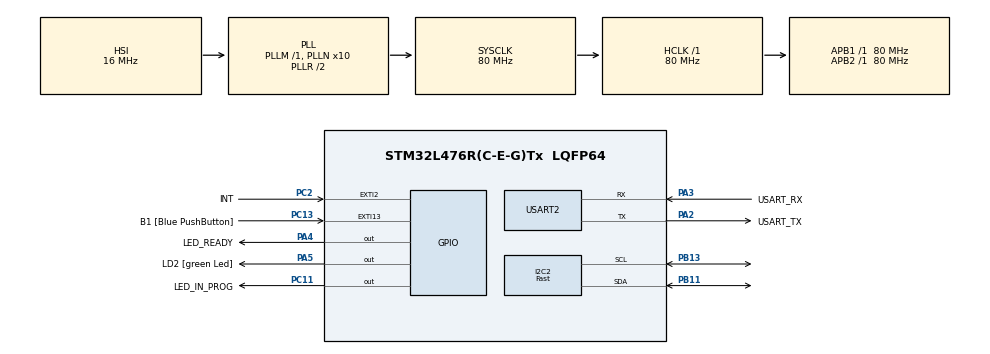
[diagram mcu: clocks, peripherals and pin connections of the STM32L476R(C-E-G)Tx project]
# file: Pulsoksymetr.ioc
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Dma.Request0=USART2_TX
Dma.USART2_TX.0.Direction=DMA_MEMORY_TO_PERIPH
Dma.USART2_TX.0.Instance=DMA1_Channel7
Dma.USART2_TX.0.MemDataAlignment=DMA_MDATAALIGN_BYTE
Dma.USART2_TX.0.MemInc=DMA_MINC_ENABLE
Dma.USART2_TX.0.Mode=DMA_CIRCULAR
Dma.USART2_TX.0.PeriphDataAlignment=DMA_PDATAALIGN_BYTE
Dma.USART2_TX.0.PeriphInc=DMA_PINC_DISABLE
Dma.USART2_TX.0.Priority=DMA_PRIORITY_LOW
I2C2.CustomTiming=Disabled
I2C2.I2C_Speed_Mode=I2C_Fast
I2C2.Speed=400
I2C2.Timing=0x00702991
Mcu.Family=STM32L4
Mcu.Name=STM32L476R(C-E-G)Tx
Mcu.Package=LQFP64
NVIC.DMA1_Channel7_IRQn=true\:0\:0\:false\:false\:true\:false\:true
NVIC.EXTI2_IRQn=true\:0\:0\:false\:false\:true\:true\:true
NVIC.PriorityGroup=NVIC_PRIORITYGROUP_4
PA13\ (JTMS-SWDIO).GPIO_Label=TMS
PA13\ (JTMS-SWDIO).Mode=Serial_Wire
PA13\ (JTMS-SWDIO).Signal=SYS_JTMS-SWDIO
PA14\ (JTCK-SWCLK).GPIO_Label=TCK
PA14\ (JTCK-SWCLK).Mode=Serial_Wire
PA14\ (JTCK-SWCLK).Signal=SYS_JTCK-SWCLK
PA2.GPIO_Label=USART_TX
PA2.GPIO_Mode=GPIO_MODE_AF_PP
PA2.GPIO_PuPd=GPIO_NOPULL
PA2.GPIO_Speed=GPIO_SPEED_FREQ_VERY_HIGH
PA2.Mode=Asynchronous
PA2.Signal=USART2_TX
PA3.GPIO_Label=USART_RX
PA3.GPIO_Mode=GPIO_MODE_AF_PP
PA3.GPIO_PuPd=GPIO_NOPULL
PA3.GPIO_Speed=GPIO_SPEED_FREQ_VERY_HIGH
PA3.Mode=Asynchronous
PA3.Signal=USART2_RX
PA4.GPIO_Label=LED_READY
PA4.Signal=GPIO_Output
PA5.GPIO_Label=LD2 [green Led]
PA5.GPIO_ModeDefaultOutputPP=GPIO_MODE_OUTPUT_PP
PA5.GPIO_PuPd=GPIO_NOPULL
PA5.GPIO_Speed=GPIO_SPEED_FREQ_LOW
PA5.Signal=GPIO_Output
PB11.Mode=I2C
PB11.Signal=I2C2_SDA
PB13.Mode=I2C
PB13.Signal=I2C2_SCL
PB3\ (JTDO-TRACESWO).GPIO_Label=SWO
PB3\ (JTDO-TRACESWO).Signal=SYS_JTDO-SWO
PC11.GPIO_Label=LED_IN_PROG
PC11.Signal=GPIO_Output
PC13.GPIO_Label=B1 [Blue PushButton]
PC13.GPIO_ModeDefaultEXTI=GPIO_MODE_IT_FALLING
PC13.GPIO_PuPd=GPIO_NOPULL
PC13.Signal=GPXTI13
PC14-OSC32_IN\ (PC14).Mode=LSE-External-Oscillator
PC14-OSC32_IN\ (PC14).Signal=RCC_OSC32_IN
PC15-OSC32_OUT\ (PC15).Mode=LSE-External-Oscillator
PC15-OSC32_OUT\ (PC15).Signal=RCC_OSC32_OUT
PC2.GPIO_Label=INT
PC2.GPIO_ModeDefaultEXTI=GPIO_MODE_IT_FALLING
PC2.Signal=GPXTI2
PH0-OSC_IN\ (PH0).Signal=RCC_OSC_IN
PH1-OSC_OUT\ (PH1).Signal=RCC_OSC_OUT
ProjectManager.HeapSize=0x200
ProjectManager.StackSize=0x400
ProjectManager.TargetToolchain=STM32CubeIDE
RCC.ADCFreq_Value=64000000
RCC.AHBFreq_Value=80000000
RCC.APB1Freq_Value=80000000
RCC.APB1TimFreq_Value=80000000
RCC.APB2Freq_Value=80000000
RCC.APB2TimFreq_Value=80000000
RCC.CortexFreq_Value=80000000
RCC.HCLKFreq_Value=80000000
RCC.HSE_VALUE=8000000
RCC.HSI_VALUE=16000000
RCC.MSI_VALUE=4000000
RCC.PLLN=10
RCC.PLLSourceVirtual=RCC_PLLSOURCE_HSI
RCC.PREFETCH_ENABLE=1
RCC.SYSCLKFreq_VALUE=80000000
RCC.SYSCLKSource=RCC_SYSCLKSOURCE_PLLCLK
RCC.USBFreq_Value=64000000
RCC.VCOOutputFreq_Value=160000000
USART2.VirtualMode-Asynchronous=VM_ASYNC
board=NUCLEO-L476RG

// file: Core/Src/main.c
/* USER CODE BEGIN Header */
/**
  ******************************************************************************
  * @file           : main.c
  * @brief          : Main program body
  ******************************************************************************
  * @attention
  *
  * Copyright (c) 2022 STMicroelectronics.
  * All rights reserved.
  *
  * This software is licensed under terms that can be found in the LICENSE file
  * in the root directory of this software component.
  * If no LICENSE file comes with this software, it is provided AS-IS.
  *
  ******************************************************************************
  */
/* USER CODE END Header */
#include "main.h"
#include "dma.h"
#include "i2c.h"
#include "usart.h"
#include "gpio.h"

/* USER CODE BEGIN Includes */

#include "MAX30100.h"
#include <stdio.h>

/* USER CODE END Includes */

/* USER CODE BEGIN PV */

static bool are_samples_ready = false;

/* USER CODE END PV */

void SystemClock_Config(void);

/* USER CODE BEGIN 0 */

void HAL_GPIO_EXTI_Callback(uint16_t GPIO_Pin)
{
    if(GPIO_Pin == INT_Pin)
    {
        are_samples_ready = true;
    }
}

/* USER CODE END 0 */

int main(void)
{
  /* USER CODE BEGIN 1 */

    uint16_t redSample;
    uint16_t irSample;
    char string[1024];
    int stringLen;

  /* USER CODE END 1 */

  /* MCU Configuration--------------------------------------------------------*/

  /* Reset of all peripherals, Initializes the Flash interface and the Systick. */
  HAL_Init();

  /* Configure the system clock */
  SystemClock_Config();

  /* Initialize all configured peripherals */
  MX_GPIO_Init();
  MX_USART2_UART_Init();
  MX_DMA_Init();
  MX_I2C2_Init();
  /* USER CODE BEGIN 2 */

  Max30100_Init(&hi2c2);

  /* USER CODE END 2 */

  /* Infinite loop */
  while (1)
  {

    /* USER CODE BEGIN 3 */

    if (are_samples_ready)
    {
        if (HAL_OK == Max30100_ReadSample(&redSample, &irSample))
        {
            stringLen = sprintf(string, "Red:%d IR:%d\n\r", redSample, irSample);
            if (stringLen > 0)
            {
                HAL_UART_Transmit(&huart2, (uint8_t*)string, stringLen, HAL_MAX_DELAY);
            }

            if (irSample >= MAX30100_LIGHT_THRESHOLD)
            {
                HAL_GPIO_WritePin(LED_READY_GPIO_Port, LED_READY_Pin, GPIO_PIN_RESET);
                HAL_GPIO_WritePin(LED_IN_PROG_GPIO_Port, LED_IN_PROG_Pin, GPIO_PIN_SET);
            }
            else
            {
                HAL_GPIO_WritePin(LED_READY_GPIO_Port, LED_READY_Pin, GPIO_PIN_SET);
                HAL_GPIO_WritePin(LED_IN_PROG_GPIO_Port, LED_IN_PROG_Pin, GPIO_PIN_RESET);
            }
        }
        are_samples_ready = false;
    }
  }
  /* USER CODE END 3 */
}

void SystemClock_Config(void)
{
  RCC_OscInitTypeDef RCC_OscInitStruct = {0};
  RCC_ClkInitTypeDef RCC_ClkInitStruct = {0};

  /** Configure the main internal regulator output voltage
  */
  if (HAL_PWREx_ControlVoltageScaling(PWR_REGULATOR_VOLTAGE_SCALE1) != HAL_OK)
  {
    Error_Handler();
  }
  /** Initializes the RCC Oscillators according to the specified parameters
  * in the RCC_OscInitTypeDef structure.
  */
  RCC_OscInitStruct.OscillatorType = RCC_OSCILLATORTYPE_HSI;
  RCC_OscInitStruct.HSIState = RCC_HSI_ON;
  RCC_OscInitStruct.HSICalibrationValue = RCC_HSICALIBRATION_DEFAULT;
  RCC_OscInitStruct.PLL.PLLState = RCC_PLL_ON;
  RCC_OscInitStruct.PLL.PLLSource = RCC_PLLSOURCE_HSI;
  RCC_OscInitStruct.PLL.PLLM = 1;
  RCC_OscInitStruct.PLL.PLLN = 10;
  RCC_OscInitStruct.PLL.PLLP = RCC_PLLP_DIV7;
  RCC_OscInitStruct.PLL.PLLQ = RCC_PLLQ_DIV2;
  RCC_OscInitStruct.PLL.PLLR = RCC_PLLR_DIV2;
  if (HAL_RCC_OscConfig(&RCC_OscInitStruct) != HAL_OK)
  {
    Error_Handler();
  }
  /** Initializes the CPU, AHB and APB buses clocks
  */
  RCC_ClkInitStruct.ClockType = RCC_CLOCKTYPE_HCLK|RCC_CLOCKTYPE_SYSCLK
                              |RCC_CLOCKTYPE_PCLK1|RCC_CLOCKTYPE_PCLK2;
  RCC_ClkInitStruct.SYSCLKSource = RCC_SYSCLKSOURCE_PLLCLK;
  RCC_ClkInitStruct.AHBCLKDivider = RCC_SYSCLK_DIV1;
  RCC_ClkInitStruct.APB1CLKDivider = RCC_HCLK_DIV1;
  RCC_ClkInitStruct.APB2CLKDivider = RCC_HCLK_DIV1;

  if (HAL_RCC_ClockConfig(&RCC_ClkInitStruct, FLASH_LATENCY_4) != HAL_OK)
  {
    Error_Handler();
  }
}

void Error_Handler(void)
{
  __disable_irq();
  while (1)
  {
  }
}
